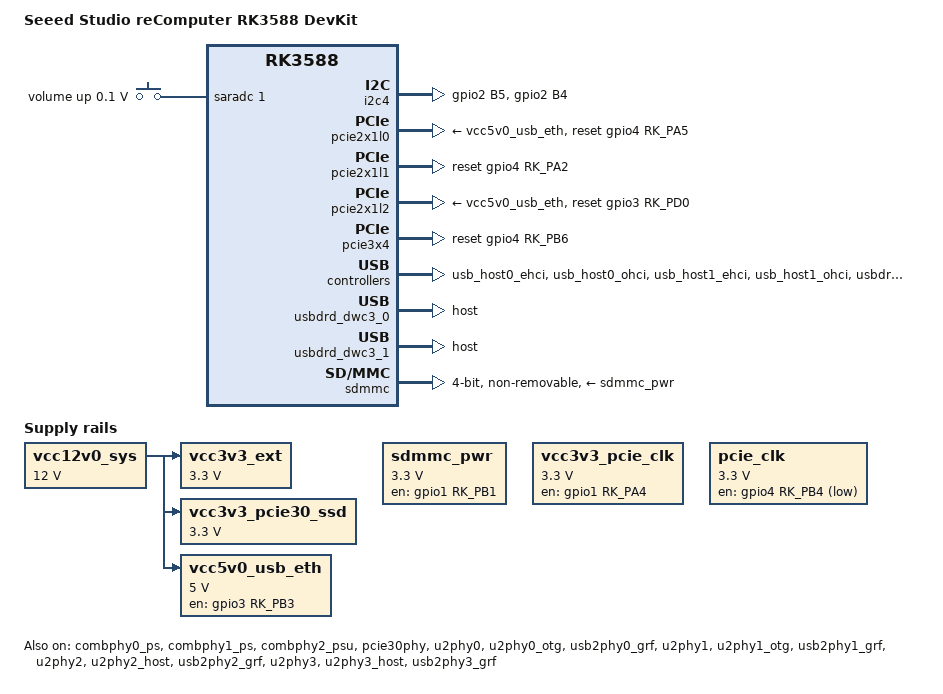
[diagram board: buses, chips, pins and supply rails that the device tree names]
// SPDX-License-Identifier: (GPL-2.0+ OR MIT)
/*
 * Copyright (c) 2021 Rockchip Electronics Co., Ltd
 *
 */

/dts-v1/;
#include "rk3588.dtsi"
#include "rk3588-u-boot.dtsi"
#include <dt-bindings/input/input.h>

/ {
	model = "Seeed Studio reComputer RK3588 DevKit";
	compatible = "seeed,recomputer-rk3588-devkit", "rockchip,rk3588";


	adc-keys {
		compatible = "adc-keys";
		io-channels = <&saradc 1>;
		io-channel-names = "buttons";
		keyup-threshold-microvolt = <1800000>;
		u-boot,dm-pre-reloc;
		status = "okay";

		volumeup-key {
			u-boot,dm-pre-reloc;
			linux,code = <KEY_VOLUMEUP>;
			label = "volume up";
			/*
			 * On this board the volume-up button shorts the
			 * SARADC channel directly to GND when pressed:
			 *
			 *   released: ~1.80 V (raw=4091 of 4095, VREF)
			 *   pressed:  ~0.02 V (raw=43 of 4095, near GND)
			 *
			 * U-Boot's adc_key driver uses a fixed +/-150000 uV
			 * margin around the threshold, so with a single key
			 * the press window becomes [0, threshold + 75000].
			 * A threshold of 100000 uV yields window [0, 175000]
			 * which cleanly captures the pressed rail (~18900 uV)
			 * and rejects the released rail (~1798000 uV) plus
			 * SARADC/OTG noise. The previous 1750000 uV setting
			 * put VREF itself inside the window and triggered a
			 * false download-mode entry; 900000 uV (~VREF/2)
			 * avoided the false trigger but could not detect the
			 * actual press because the channel never settles there.
			 */
			press-threshold-microvolt = <100000>;
		};
	};


	vcc12v0_sys: vcc12v0-sys {
		u-boot,dm-pre-reloc;
		compatible = "regulator-fixed";
		regulator-name = "vcc12v0_sys";
		regulator-always-on;
		regulator-boot-on;
		regulator-min-microvolt = <12000000>;
		regulator-max-microvolt = <12000000>;
	};

	vcc3v3_ext: vcc3v3-ext-regulator {
		u-boot,dm-pre-reloc;
		compatible = "regulator-fixed";
		regulator-name = "vcc3v3_ext";
		regulator-min-microvolt = <3300000>;
		regulator-max-microvolt = <3300000>;
		startup-delay-us = <5000>;
		vin-supply = <&vcc12v0_sys>;
	};

	vcc3v3_pcie30_ssd: vcc3v3-pcie30-ssd-regulator {
		u-boot,dm-pre-reloc;
		regulator-boot-on;
		regulator-always-on;
		compatible = "regulator-fixed";
		regulator-name = "vcc3v3_pcie30_ssd";
		regulator-min-microvolt = <3300000>;
		regulator-max-microvolt = <3300000>;
		vin-supply = <&vcc12v0_sys>;
	};

	sdmmc_pwr: sdmmc-pwr {
		u-boot,dm-pre-reloc;
		compatible = "regulator-fixed";
		regulator-name = "sdmmc_pwr";
		regulator-min-microvolt = <3300000>;
		regulator-max-microvolt = <3300000>;
		enable-active-high;
		gpio = <&gpio1 RK_PB1 GPIO_ACTIVE_HIGH>;
		pinctrl-names = "default";
		pinctrl-0 = <&sdmmc_pwr_en>;
	};

	vcc3v3_pcie_clk: vcc3v3-pcie-clk-regulator {
		u-boot,dm-pre-reloc;
		regulator-boot-on;
		regulator-always-on;
		compatible = "regulator-fixed";
		regulator-name = "vcc3v3_pcie_clk";
		regulator-min-microvolt = <3300000>;
		regulator-max-microvolt = <3300000>;
		enable-active-high;
		gpio = <&gpio1 RK_PA4 GPIO_ACTIVE_HIGH>;
		pinctrl-names = "default";
		pinctrl-0 = <&pcie30_clk_en>;
	};


	pcie_clk: pcie-clk-regulator {
		u-boot,dm-pre-reloc;
		/* Active-low enable (GPIO4_B4 low = clock on). U-Boot's fixed.c
		 * ignores the phandle polarity flag and only reads
		 * enable-active-high, so omit it or pci enum hangs. */
		gpio = <&gpio4 RK_PB4 GPIO_ACTIVE_LOW>;
		pinctrl-names = "default";
		pinctrl-0 = <&pcie30_clk>;
		regulator-boot-on;
		regulator-always-on;
		compatible = "regulator-fixed";
		regulator-name = "pcie_clk";
		regulator-min-microvolt = <3300000>;
		regulator-max-microvolt = <3300000>;
	};

	vcc5v0_usb_eth: vcc5v0-usb-eth-regulator {
		u-boot,dm-pre-reloc;
		compatible = "regulator-fixed";
		enable-active-high;
		gpio = <&gpio3 RK_PB3 GPIO_ACTIVE_HIGH>;
		pinctrl-names = "default";
		pinctrl-0 = <&vcc5v0_usb_eth_en>;
		regulator-name = "vcc5v0_usb_eth";
		regulator-min-microvolt = <5000000>;
		regulator-max-microvolt = <5000000>;
		vin-supply = <&vcc12v0_sys>;
	};

};


&i2c4{
	status = "okay";
	pinctrl-names = "default";
	pinctrl-0 = <&eeprom_i2c_pin>;
	u-boot,dm-pre-reloc;
};


&combphy0_ps {
	u-boot,dm-pre-reloc;
	status = "okay";
};

&combphy1_ps {
	u-boot,dm-pre-reloc;
	status = "okay";
};

&combphy2_psu {
	u-boot,dm-pre-reloc;
	status = "okay";
};

/* phy1 - right ethernet port PCIE20_1_TXP */
&pcie2x1l0 {
	u-boot,dm-pre-reloc;
	reset-gpios = <&gpio4 RK_PA5 GPIO_ACTIVE_HIGH>;
	vpcie3v3-supply = <&vcc5v0_usb_eth>;
	status = "okay";
};

/* phy2 - M.KEY socket  PCIE20_2_TXP */
&pcie2x1l1 {
	u-boot,dm-pre-reloc;
	reset-gpios = <&gpio4 RK_PA2 GPIO_ACTIVE_HIGH>;
	status = "okay";
};

/* phy0 - left ethernet port PCIE20_0_TXP */
&pcie2x1l2 {
	u-boot,dm-pre-reloc;
	reset-gpios = <&gpio3 RK_PD0 GPIO_ACTIVE_HIGH>;
	vpcie3v3-supply = <&vcc5v0_usb_eth>;
	status = "okay";
};

&pcie30phy {
	u-boot,dm-pre-reloc;
	status = "okay";
};

&pcie3x4 {
	u-boot,dm-pre-reloc;
	reset-gpios = <&gpio4 RK_PB6 GPIO_ACTIVE_HIGH>;
	status = "okay";
};

&u2phy0 {
	u-boot,dm-pre-reloc;
	status = "okay";
};

&u2phy0_otg {
	u-boot,dm-pre-reloc;
	status = "okay";
};

&usb2phy0_grf {
	u-boot,dm-pre-reloc;
	status = "okay";
};

&u2phy1 {
	u-boot,dm-pre-reloc;
	status = "okay";
};

&u2phy1_otg {
	u-boot,dm-pre-reloc;
	status = "okay";
};

&usb2phy1_grf {
	u-boot,dm-pre-reloc;
	status = "okay";
};

&u2phy2 {
	u-boot,dm-pre-reloc;
	status = "okay";
};

&u2phy2_host {
	u-boot,dm-pre-reloc;
	phy-supply = <&vcc5v0_usb_eth>;
	status = "okay";
};

&usb2phy2_grf {
	u-boot,dm-pre-reloc;
	status = "okay";
};

&u2phy3 {
	u-boot,dm-pre-reloc;
	status = "okay";
};

&u2phy3_host {
	u-boot,dm-pre-reloc;
	phy-supply = <&vcc5v0_usb_eth>;
	status = "okay";
};

&usb2phy3_grf {
	u-boot,dm-pre-reloc;
	status = "okay";
};

&usb_host0_ehci {
	u-boot,dm-pre-reloc;
	status = "okay";
};

&usb_host0_ohci {
	u-boot,dm-pre-reloc;
	status = "okay";
};

&usb_host1_ehci {
	u-boot,dm-pre-reloc;
	status = "okay";
};

&usb_host1_ohci {
	u-boot,dm-pre-reloc;
	status = "okay";
};

&usbdrd3_0 {
	u-boot,dm-pre-reloc;
	status = "okay";
};

&usbdrd_dwc3_0 {
	u-boot,dm-pre-reloc;
	dr_mode = "host";
	status = "okay";
};

&usbdrd3_1 {
	u-boot,dm-pre-reloc;
	status = "okay";
};

&usbdrd_dwc3_1 {
	u-boot,dm-pre-reloc;
	dr_mode = "host";
	status = "okay";
};

&sdmmc {
	u-boot,dm-pre-reloc;
	status = "okay";
	bus-width = <4>;
	cap-sd-highspeed;
	disable-wp;
	no-mmc;
	no-sdio;
	max-frequency = <115000000>;
	vmmc-supply = <&sdmmc_pwr>;
	/* Delete cd-gpios (inherited from rk3588-u-boot.dtsi with wrong polarity):
	 * U-Boot 2017's mmc_getcd() ignores non-removable and aborts mmc_init
	 * when the cd GPIO reads inactive. With cd-gpios gone, board_mmc_getcd()
	 * returns -1 and mmc_getcd() falls back to card-present. */
	/delete-property/ cd-gpios;
	non-removable;
};

&pinctrl {

	u-boot,dm-pre-reloc;
	u-boot,dm-spl;
	status = "okay";
	eeprom_i2c {
		u-boot,dm-pre-reloc;
		u-boot,dm-spl;
		eeprom_i2c_pin: eeprom-i2c-pin {
			u-boot,dm-pre-reloc;
			u-boot,dm-spl;
			rockchip,pins =
				/* i2c4_scl_m1 */
				<2 RK_PB5 9 &pcfg_pull_none>,
				/* i2c4_sda_m1 */
				<2 RK_PB4 9 &pcfg_pull_none>;
			};
	};


	usb {
		u-boot,dm-pre-reloc;
		vcc5v0_usb_eth_en: vcc5v0-usb20-en {
			u-boot,dm-pre-reloc;
			rockchip,pins = <3 RK_PB3 RK_FUNC_GPIO &pcfg_pull_none>;
		};
	};

	sdmmc {
		u-boot,dm-pre-reloc;
		sdmmc_pwr_en: sdmmc-pwr-en {
			u-boot,dm-pre-reloc;
			rockchip,pins = <1 RK_PB1 RK_FUNC_GPIO &pcfg_pull_none>;
		};
	};

	pcie30_ssd {

		pcie30_clk_en: pcie30-clk-en {
			u-boot,dm-pre-reloc;
			rockchip,pins = <1 RK_PA4 RK_FUNC_GPIO &pcfg_pull_none>;
		};

		pcie30_clk: pcie30-clk {
			u-boot,dm-pre-reloc;
			rockchip,pins = <4 RK_PB4 RK_FUNC_GPIO &pcfg_pull_none>;
		};
		
	};
};
